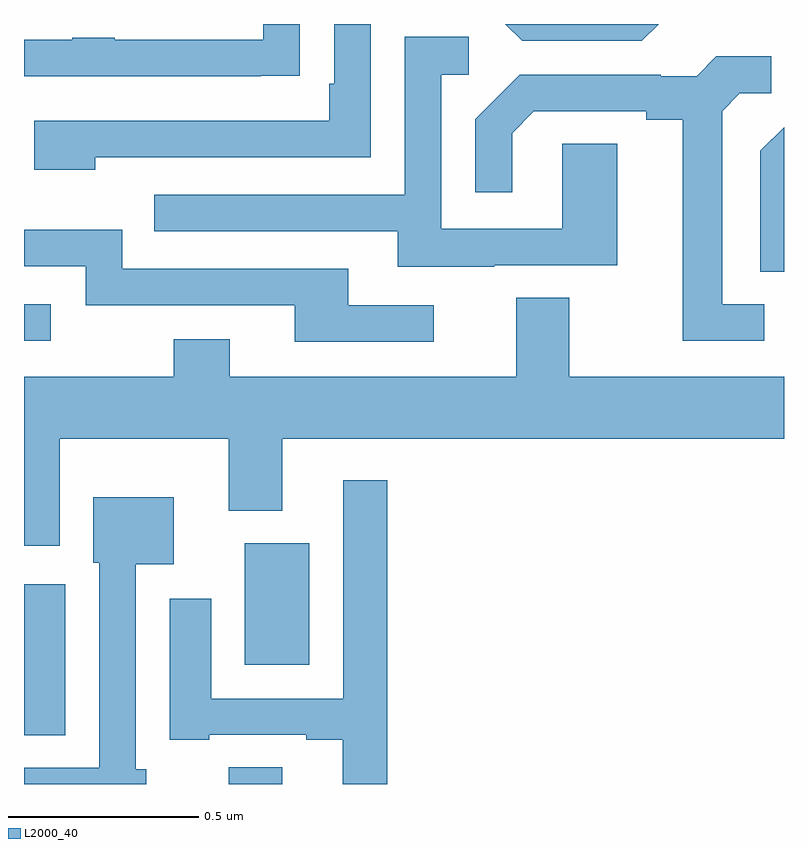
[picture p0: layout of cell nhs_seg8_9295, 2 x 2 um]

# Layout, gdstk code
import gdstk
lib = gdstk.Library(unit=1e-6, precision=1e-09)
def R(c, l, rs):  # rectangles x0, y0, x1, y1
    for r in rs: c.add(gdstk.rectangle(r[:2], r[2:], *l))
def P(c, l, *ps):  # polygons
    for p in ps: c.add(gdstk.Polygon(p, *l))
L2000_40 = (2000, 40)

nhs_seg8_9295 = lib.new_cell('nhs_seg8_9295')
R(nhs_seg8_9295, L2000_40, [(234.539,1140.9,234.679,1140.944), (234,1141.028,234.109,1141.426), (234.581,1141.214,234.751,1141.534), (234,1142.067,234.07,1142.163)])
P(nhs_seg8_9295, L2000_40, [(234.623,1142.764),(234.725,1142.764),(234.725,1142.9),(234.629,1142.9),(234.629,1142.859),(234.239,1142.859),(234.239,1142.864),(234.127,1142.864),(234.127,1142.859),(234,1142.859),(234,1142.763),(234.623,1142.763)],
  [(234.188,1142.55),(234.912,1142.55),(234.912,1142.9),(234.816,1142.9),(234.816,1142.743),(234.803,1142.743),(234.803,1142.646),(234.027,1142.646),(234.027,1142.516),(234.188,1142.516)],
  [(235.67,1142.9),(235.267,1142.9),(235.311,1142.856),(235.626,1142.856)],
  [(235.237,1142.265),(235.561,1142.265),(235.561,1142.585),(235.416,1142.585),(235.416,1142.361),(235.098,1142.361),(235.098,1142.766),(235.171,1142.766),(235.171,1142.867),(235.002,1142.867),(235.002,1142.451),(234.343,1142.451),(234.343,1142.355),(234.983,1142.355),(234.983,1142.261),(235.237,1142.261)],
  [(235.948,1142.163),(235.837,1142.163),(235.837,1142.671),(235.884,1142.718),(235.966,1142.718),(235.966,1142.815),(235.822,1142.815),(235.77,1142.763),(235.676,1142.763),(235.676,1142.766),(235.304,1142.766),(235.188,1142.65),(235.188,1142.457),(235.285,1142.457),(235.285,1142.613),(235.342,1142.67),(235.637,1142.67),(235.637,1142.648),(235.733,1142.648),(235.733,1142.067),(235.948,1142.067)],
  [(236,1142.628),(235.938,1142.566),(235.938,1142.248),(236,1142.248)],
  [(235.078,1142.16),(234.853,1142.16),(234.853,1142.256),(234.258,1142.256),(234.258,1142.359),(234,1142.359),(234,1142.262),(234.162,1142.262),(234.162,1142.16),(234.713,1142.16),(234.713,1142.064),(235.078,1142.064)],
  [(234.094,1141.808),(234.539,1141.808),(234.539,1141.619),(234.679,1141.619),(234.679,1141.808),(236,1141.808),(236,1141.972),(235.435,1141.972),(235.435,1142.18),(235.295,1142.18),(235.295,1141.972),(234.541,1141.972),(234.541,1142.071),(234.394,1142.071),(234.394,1141.972),(234,1141.972),(234,1141.527),(234.094,1141.527)],
  [(234.956,1141.699),(234.84,1141.699),(234.84,1141.125),(234.493,1141.125),(234.493,1141.387),(234.383,1141.387),(234.383,1141.017),(234.487,1141.017),(234.487,1141.029),(234.743,1141.029),(234.743,1141.017),(234.839,1141.017),(234.839,1140.9),(234.956,1140.9)],
  [(234.322,1140.939),(234.294,1140.939),(234.294,1141.478),(234.394,1141.478),(234.394,1141.654),(234.182,1141.654),(234.182,1141.482),(234.198,1141.482),(234.198,1140.943),(234,1140.943),(234,1140.9),(234.322,1140.9)])

lib.write_gds('nhs_seg8_9295.gds')
